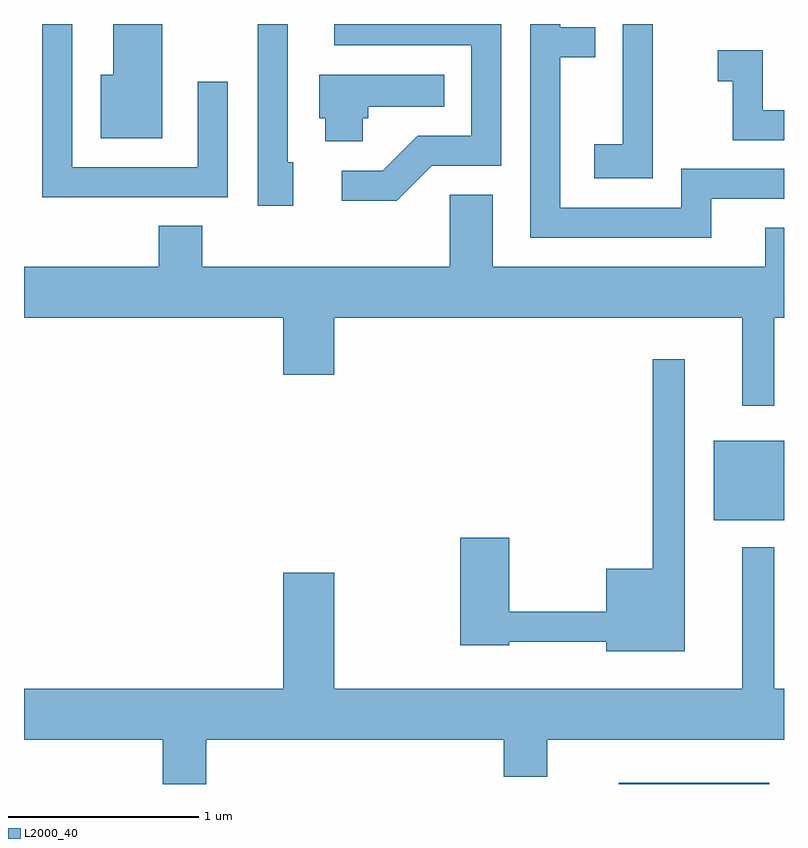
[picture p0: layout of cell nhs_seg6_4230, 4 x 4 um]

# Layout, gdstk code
import gdstk
lib = gdstk.Library(unit=1e-6, precision=1e-09)
def R(c, l, rs):  # rectangles x0, y0, x1, y1
    for r in rs: c.add(gdstk.rectangle(r[:2], r[2:], *l))
def P(c, l, *ps):  # polygons
    for p in ps: c.add(gdstk.Polygon(p, *l))
L2000_40 = (2000, 40)

nhs_seg6_4230 = lib.new_cell('nhs_seg6_4230')
R(nhs_seg6_4230, L2000_40, [(316.741,1634.162,317.533,1634.169), (317.241,1635.551,317.611,1635.969)])
P(nhs_seg6_4230, L2000_40, [(316.919,1638.162),(316.761,1638.162),(316.761,1637.529),(316.611,1637.529),(316.611,1637.351),(316.919,1637.351)],
  [(314.684,1637.858),(314.526,1637.858),(314.526,1637.409),(313.864,1637.409),(313.864,1638.162),(313.706,1638.162),(313.706,1637.251),(314.684,1637.251)],
  [(314.339,1638.162),(314.081,1638.162),(314.081,1637.894),(314.016,1637.894),(314.016,1637.561),(314.339,1637.561)],
  [(315.757,1637.416),(316.124,1637.416),(316.124,1638.162),(315.243,1638.162),(315.243,1638.051),(315.966,1638.051),(315.966,1637.574),(315.684,1637.574),(315.499,1637.389),(315.283,1637.389),(315.283,1637.231),(315.572,1637.231)],
  [(315.029,1637.434),(314.999,1637.434),(314.999,1638.162),(314.841,1638.162),(314.841,1637.206),(315.029,1637.206)],
  [(317.229,1637.241),(317.611,1637.241),(317.611,1637.399),(317.071,1637.399),(317.071,1637.194),(316.434,1637.194),(316.434,1637.986),(316.618,1637.986),(316.618,1638.144),(316.434,1638.144),(316.434,1638.162),(316.276,1638.162),(316.276,1637.036),(317.229,1637.036)],
  [(317.611,1637.709),(317.499,1637.709),(317.499,1638.024),(317.263,1638.024),(317.263,1637.861),(317.341,1637.861),(317.341,1637.551),(317.611,1637.551)],
  [(315.394,1637.666),(315.424,1637.666),(315.424,1637.726),(315.823,1637.726),(315.823,1637.894),(315.166,1637.894),(315.166,1637.666),(315.196,1637.666),(315.196,1637.546),(315.394,1637.546)],
  [(317.559,1636.616),(317.611,1636.616),(317.611,1637.089),(317.511,1637.089),(317.511,1636.884),(316.079,1636.884),(316.079,1637.264),(315.851,1637.264),(315.851,1636.884),(314.549,1636.884),(314.549,1637.099),(314.321,1637.099),(314.321,1636.884),(313.611,1636.884),(313.611,1636.616),(314.976,1636.616),(314.976,1636.316),(315.244,1636.316),(315.244,1636.616),(317.391,1636.616),(317.391,1636.153),(317.559,1636.153)],
  [(317.089,1636.398),(316.921,1636.398),(316.921,1635.294),(316.676,1635.294),(316.676,1635.069),(316.164,1635.069),(316.164,1635.459),(315.906,1635.459),(315.906,1634.891),(316.164,1634.891),(316.164,1634.911),(316.676,1634.911),(316.676,1634.861),(317.089,1634.861)],
  [(314.569,1634.396),(316.136,1634.396),(316.136,1634.201),(316.364,1634.201),(316.364,1634.396),(317.611,1634.396),(317.611,1634.664),(317.559,1634.664),(317.559,1635.408),(317.391,1635.408),(317.391,1634.664),(315.244,1634.664),(315.244,1635.274),(314.976,1635.274),(314.976,1634.664),(313.611,1634.664),(313.611,1634.396),(314.341,1634.396),(314.341,1634.162),(314.569,1634.162)])

lib.write_gds('nhs_seg6_4230.gds')
